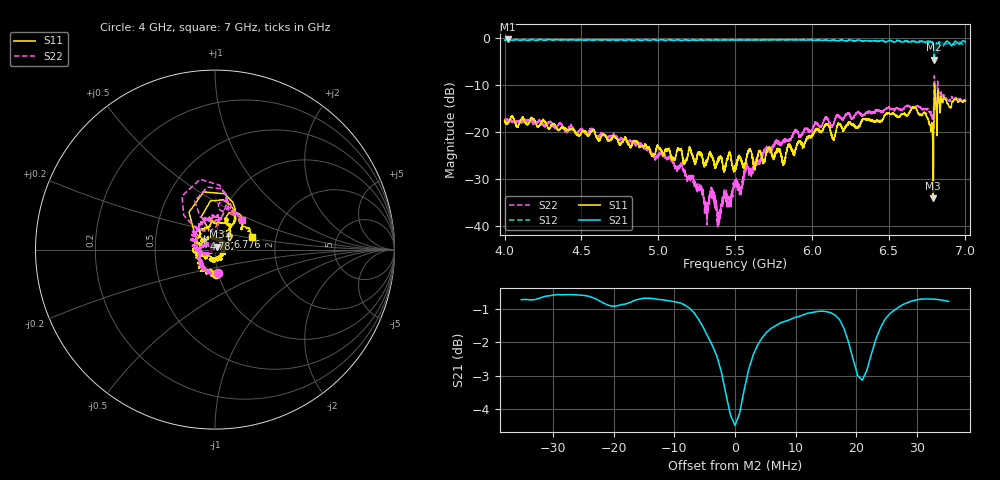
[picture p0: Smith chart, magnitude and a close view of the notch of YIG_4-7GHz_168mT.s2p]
#  HZ  S  RI  R  50.0
! Rohde & Schwarz ZVL13 2Ports - Version 3.31 - 1303.6509k13 SN: 101088
! Date: 2023-03-06 15:09:53
! Data & Calibration Information:
! Trc4:S11(TOSM) Trc2:S21(TOSM) Trc3:S12(TOSM) Trc5:S22(TOSM)
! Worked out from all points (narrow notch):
!   4000 points, 4 GHz to 7 GHz, reference 50 ohm
!   highest |S21| = -0.19 dB at 4.02 GHz (marker M1); lowest = -4.5 dB at 6.797 GHz (marker M2)
!   notch at M2: 4.2 dB deep, 5.9 MHz wide at half that depth
!   lowest |S11| = -34.1 dB at 6.791 GHz (marker M3), VSWR 1.04, Z = 51.1 + j1.65 ohm
!   |S11| at or under -10 dB: start of sweep to 6.798 GHz; 6.8 GHz to end of sweep
!   |S22| runs from -40.3 to -7.9 dB; largest |S21 - S12| = 0.095
!   S11 on the Smith chart (normalised r, x): 4 GHz: 0.97, -0.27; 4.782 GHz: 0.88, +0.10; 6.776 GHz: 1.15, +0.17; 7 GHz: 1.50, +0.22
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4e9  0.00465 -0.1337  -0.9048 -0.3193  -0.9108 -0.2977  0.0194 -0.1281
4.019505e9  -0.0177 -0.1229  -0.9383 -0.2791  -0.9298 -0.2823  0.0122 -0.1383
4.277569e9  -0.0745 -0.0913  -0.9309 0.2766  -0.9349 0.2843  -0.0635 -0.1057
4.500375e9  -0.099 -0.00862  -0.6651 0.7034  -0.6598 0.6909  -0.0812 -0.0658
4.782446e9  -0.0628 0.0587  -0.125 0.9416  -0.1112 0.96  -0.0869 0.00204
5e9  -0.000598 0.0704  0.325 0.9005  0.3283 0.8877  -0.0457 0.0324
5.157539e9  0.0297 0.0487  0.6247 0.7219  0.62 0.7232  -0.0321 0.0306
5.312078e9  0.0493 0.00328  0.839 0.4675  0.8308 0.4778  -0.0116 0.00757
5.351838e9  0.054 0.0117  0.8772 0.3929  0.866 0.384  -0.0182 0.00748
5.395349e9  0.0518 -0.00725  0.9133 0.3109  0.9069 0.2899  -0.011 0.00428
5.500375e9  0.0325 -0.0304  0.962 0.0819  0.9505 0.0756  -0.022 -0.0145
5.736684e9  0.00134 -0.0618  0.8696 -0.4166  0.8801 -0.417  -0.0642 -0.0189
5.815454e9  -0.0238 -0.0395  0.7825 -0.5746  0.7724 -0.5723  -0.0772 -0.0218
6e9  -0.0889 -0.012  0.4541 -0.8461  0.4659 -0.8663  -0.1052 0.021
6.253563e9  -0.1038 0.0663  -0.1049 -0.9562  -0.1064 -0.9776  -0.1091 0.0959
6.500375e9  -0.0165 0.1596  -0.5909 -0.7405  -0.608 -0.7413  -0.0519 0.1755
6.668417e9  0.0618 0.1742  -0.8271 -0.4412  -0.8302 -0.4002  0.0101 0.1853
6.775694e9  0.0738 0.0734  -0.898 -0.1535  -0.8879 -0.1463  0.00274 0.1505
6.790698e9  0.0114 0.0161  -0.88 -0.0167  -0.8859 -0.06  -0.0663 0.1041
6.797449e9  -0.1234 0.2739  -0.5877 -0.0971  -0.6482 -0.1147  -0.1478 0.3569
6.811703e9  0.0905 0.1269  -0.8721 -0.1528  -0.893 -0.1249  0.0355 0.1816
7e9  0.205 0.0688  -0.8828 0.2311  -0.902 0.1993  0.1458 0.1624
